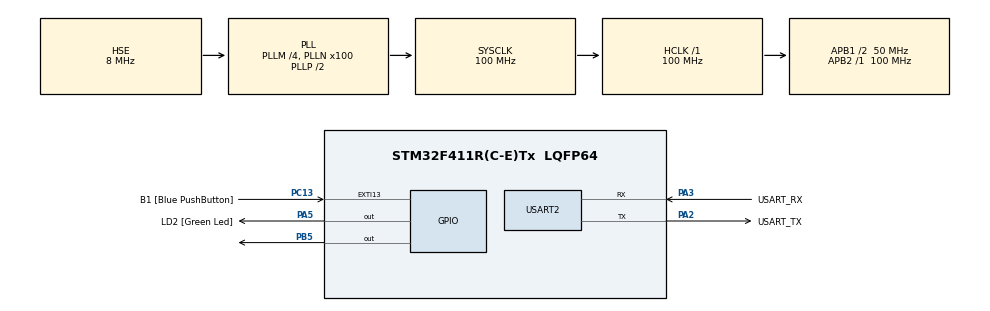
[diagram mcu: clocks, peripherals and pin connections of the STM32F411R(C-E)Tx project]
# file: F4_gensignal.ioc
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Mcu.Family=STM32F4
Mcu.Name=STM32F411R(C-E)Tx
Mcu.Package=LQFP64
NVIC.PriorityGroup=NVIC_PRIORITYGROUP_0
NVIC.USART2_IRQn=true\:0\:0\:false\:false\:true\:true\:true\:true
PA13.GPIO_Label=TMS
PA13.Mode=Serial_Wire
PA13.Signal=SYS_JTMS-SWDIO
PA14.GPIO_Label=TCK
PA14.Mode=Serial_Wire
PA14.Signal=SYS_JTCK-SWCLK
PA2.GPIO_Label=USART_TX
PA2.Mode=Asynchronous
PA2.Signal=USART2_TX
PA3.GPIO_Label=USART_RX
PA3.Mode=Asynchronous
PA3.Signal=USART2_RX
PA5.GPIO_Label=LD2 [Green Led]
PA5.Signal=GPIO_Output
PB3.GPIO_Label=SWO
PB3.Signal=SYS_JTDO-SWO
PB5.Signal=GPIO_Output
PC13-ANTI_TAMP.GPIO_Label=B1 [Blue PushButton]
PC13-ANTI_TAMP.GPIO_ModeDefaultEXTI=GPIO_MODE_IT_FALLING
PC13-ANTI_TAMP.Signal=GPXTI13
PC14-OSC32_IN.Signal=RCC_OSC32_IN
PC15-OSC32_OUT.Signal=RCC_OSC32_OUT
PH0\ -\ OSC_IN.Mode=HSE-External-Oscillator
PH0\ -\ OSC_IN.Signal=RCC_OSC_IN
PH1\ -\ OSC_OUT.Mode=HSE-External-Oscillator
PH1\ -\ OSC_OUT.Signal=RCC_OSC_OUT
ProjectManager.HeapSize=0x200
ProjectManager.StackSize=0x400
ProjectManager.TargetToolchain=STM32CubeIDE
RCC.48MHZClocksFreq_Value=50000000
RCC.AHBFreq_Value=100000000
RCC.APB1CLKDivider=RCC_HCLK_DIV2
RCC.APB1Freq_Value=50000000
RCC.APB1TimFreq_Value=100000000
RCC.APB2Freq_Value=100000000
RCC.APB2TimFreq_Value=100000000
RCC.CortexFreq_Value=100000000
RCC.FLatency-AdvancedSettings=FLASH_LATENCY_3
RCC.HCLKFreq_Value=100000000
RCC.HSE_VALUE=8000000
RCC.HSI_VALUE=16000000
RCC.PLLM=4
RCC.PLLN=100
RCC.PLLSourceVirtual=RCC_PLLSOURCE_HSE
RCC.SYSCLKFreq_VALUE=100000000
RCC.SYSCLKSource=RCC_SYSCLKSOURCE_PLLCLK
RCC.VCOOutputFreq_Value=200000000
USART2.VirtualMode=VM_ASYNC
board=NUCLEO-F411RE

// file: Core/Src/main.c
/* USER CODE BEGIN Header */
/**
  ******************************************************************************
  * @file           : main.c
  * @brief          : Main program body
  ******************************************************************************
  * @attention
  *
  * Copyright (c) 2025 STMicroelectronics.
  * All rights reserved.
  *
  * This software is licensed under terms that can be found in the LICENSE file
  * in the root directory of this software component.
  * If no LICENSE file comes with this software, it is provided AS-IS.
  *
  ******************************************************************************
  */
/* USER CODE END Header */
#include "main.h"
#include <stdio.h>

UART_HandleTypeDef huart2;

void SystemClock_Config(void);
static void MX_GPIO_Init(void);
static void MX_USART2_UART_Init(void);

/* USER CODE BEGIN 0 */
uint8_t UART2_rxBuffer[1] = {0};
volatile uint8_t flag = 0;
/* USER CODE END 0 */

int main(void)
{

  /* MCU Configuration--------------------------------------------------------*/

  /* Reset of all peripherals, Initializes the Flash interface and the Systick. */
  HAL_Init();

  /* Configure the system clock */
  SystemClock_Config();

  /* Initialize all configured peripherals */
  MX_GPIO_Init();
  MX_USART2_UART_Init();
  /* USER CODE BEGIN 2 */
  HAL_UART_Receive_IT (&huart2, UART2_rxBuffer, 1);
  HAL_GPIO_WritePin(GPIOB, GPIO_PIN_5, GPIO_PIN_SET);
  /* USER CODE END 2 */

  /* Infinite loop */
  while (1)
  {

    /* USER CODE BEGIN 3 */
	  if (flag == 1){
		  HAL_Delay(1);
		  HAL_GPIO_WritePin(GPIOB, GPIO_PIN_5, GPIO_PIN_SET);
		  printf("s");
		  flag = 0;
	  }
  }
  /* USER CODE END 3 */
}

void SystemClock_Config(void)
{
  RCC_OscInitTypeDef RCC_OscInitStruct = {0};
  RCC_ClkInitTypeDef RCC_ClkInitStruct = {0};

  /** Configure the main internal regulator output voltage
  */
  __HAL_RCC_PWR_CLK_ENABLE();
  __HAL_PWR_VOLTAGESCALING_CONFIG(PWR_REGULATOR_VOLTAGE_SCALE1);

  /** Initializes the RCC Oscillators according to the specified parameters
  * in the RCC_OscInitTypeDef structure.
  */
  RCC_OscInitStruct.OscillatorType = RCC_OSCILLATORTYPE_HSE;
  RCC_OscInitStruct.HSEState = RCC_HSE_ON;
  RCC_OscInitStruct.PLL.PLLState = RCC_PLL_ON;
  RCC_OscInitStruct.PLL.PLLSource = RCC_PLLSOURCE_HSE;
  RCC_OscInitStruct.PLL.PLLM = 4;
  RCC_OscInitStruct.PLL.PLLN = 100;
  RCC_OscInitStruct.PLL.PLLP = RCC_PLLP_DIV2;
  RCC_OscInitStruct.PLL.PLLQ = 4;
  if (HAL_RCC_OscConfig(&RCC_OscInitStruct) != HAL_OK)
  {
    Error_Handler();
  }

  /** Initializes the CPU, AHB and APB buses clocks
  */
  RCC_ClkInitStruct.ClockType = RCC_CLOCKTYPE_HCLK|RCC_CLOCKTYPE_SYSCLK
                              |RCC_CLOCKTYPE_PCLK1|RCC_CLOCKTYPE_PCLK2;
  RCC_ClkInitStruct.SYSCLKSource = RCC_SYSCLKSOURCE_PLLCLK;
  RCC_ClkInitStruct.AHBCLKDivider = RCC_SYSCLK_DIV1;
  RCC_ClkInitStruct.APB1CLKDivider = RCC_HCLK_DIV2;
  RCC_ClkInitStruct.APB2CLKDivider = RCC_HCLK_DIV1;

  if (HAL_RCC_ClockConfig(&RCC_ClkInitStruct, FLASH_LATENCY_3) != HAL_OK)
  {
    Error_Handler();
  }
}

static void MX_USART2_UART_Init(void)
{

  huart2.Instance = USART2;
  huart2.Init.BaudRate = 115200;
  huart2.Init.WordLength = UART_WORDLENGTH_8B;
  huart2.Init.StopBits = UART_STOPBITS_1;
  huart2.Init.Parity = UART_PARITY_NONE;
  huart2.Init.Mode = UART_MODE_TX_RX;
  huart2.Init.HwFlowCtl = UART_HWCONTROL_NONE;
  huart2.Init.OverSampling = UART_OVERSAMPLING_16;
  if (HAL_UART_Init(&huart2) != HAL_OK)
  {
    Error_Handler();
  }

}

static void MX_GPIO_Init(void)
{
  GPIO_InitTypeDef GPIO_InitStruct = {0};

  /* GPIO Ports Clock Enable */
  __HAL_RCC_GPIOC_CLK_ENABLE();
  __HAL_RCC_GPIOH_CLK_ENABLE();
  __HAL_RCC_GPIOA_CLK_ENABLE();
  __HAL_RCC_GPIOB_CLK_ENABLE();

  /*Configure GPIO pin Output Level */
  HAL_GPIO_WritePin(LD2_GPIO_Port, LD2_Pin, GPIO_PIN_RESET);

  /*Configure GPIO pin Output Level */
  HAL_GPIO_WritePin(GPIOB, GPIO_PIN_5, GPIO_PIN_RESET);

  /*Configure GPIO pin : B1_Pin */
  GPIO_InitStruct.Pin = B1_Pin;
  GPIO_InitStruct.Mode = GPIO_MODE_IT_FALLING;
  GPIO_InitStruct.Pull = GPIO_NOPULL;
  HAL_GPIO_Init(B1_GPIO_Port, &GPIO_InitStruct);

  /*Configure GPIO pin : LD2_Pin */
  GPIO_InitStruct.Pin = LD2_Pin;
  GPIO_InitStruct.Mode = GPIO_MODE_OUTPUT_PP;
  GPIO_InitStruct.Pull = GPIO_NOPULL;
  GPIO_InitStruct.Speed = GPIO_SPEED_FREQ_LOW;
  HAL_GPIO_Init(LD2_GPIO_Port, &GPIO_InitStruct);

  /*Configure GPIO pin : PB5 */
  GPIO_InitStruct.Pin = GPIO_PIN_5;
  GPIO_InitStruct.Mode = GPIO_MODE_OUTPUT_PP;
  GPIO_InitStruct.Pull = GPIO_NOPULL;
  GPIO_InitStruct.Speed = GPIO_SPEED_FREQ_LOW;
  HAL_GPIO_Init(GPIOB, &GPIO_InitStruct);

}

/* USER CODE BEGIN 4 */
void HAL_UART_RxCpltCallback(UART_HandleTypeDef *huart)
{
    if (huart->Instance == USART2)  // Make sure it's UART2
    {
        if (UART2_rxBuffer[0] == 's')  // Check if received 's'
        {
            HAL_GPIO_WritePin(GPIOB, GPIO_PIN_5, GPIO_PIN_RESET); // set PB5 LOW
            flag = 1;
        }

        // Re-enable UART receive interrupt
        HAL_UART_Receive_IT(&huart2, UART2_rxBuffer,1);
    }
}
int __io_putchar(int ch)
{
    HAL_UART_Transmit(&huart2, (uint8_t*)&ch, 1,1000);
    return ch;
}
/* USER CODE END 4 */

void Error_Handler(void)
{
  __disable_irq();
  while (1)
  {
  }
}
